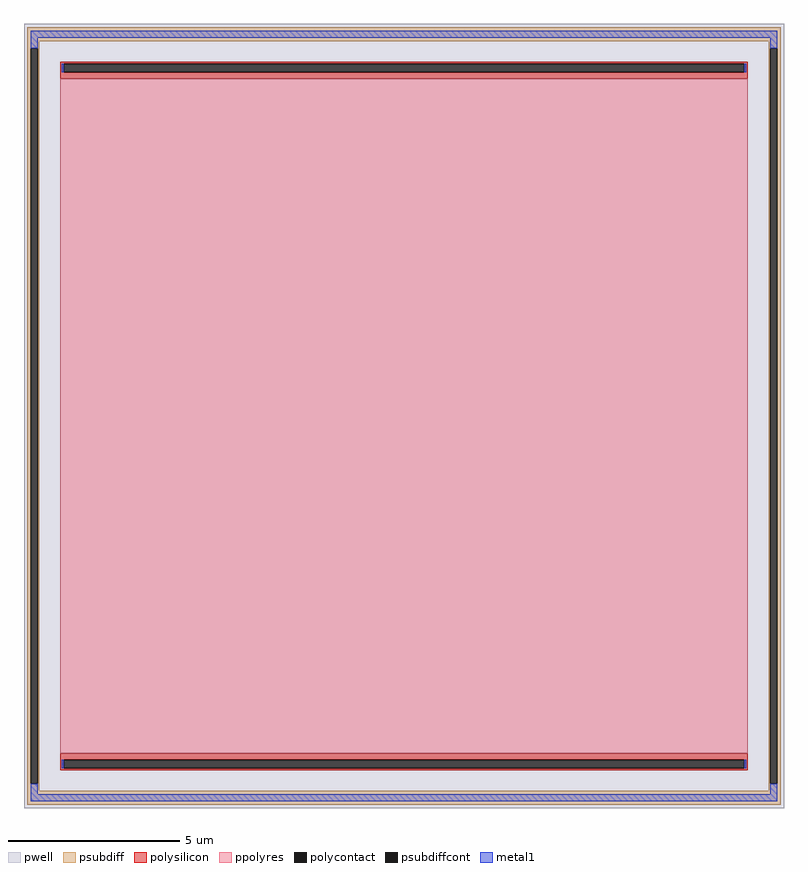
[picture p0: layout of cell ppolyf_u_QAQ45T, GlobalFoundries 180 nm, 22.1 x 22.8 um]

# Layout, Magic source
magic
tech gf180mcuD
<< pwell >>
rect -221 -228 221 228
<< psubdiff >>
rect -219 218 219 226
rect -219 214 -212 218
rect -219 -214 -217 214
rect -213 -214 -212 214
rect 212 214 219 218
rect -219 -218 -212 -214
rect 212 -214 213 214
rect 217 -214 219 214
rect 212 -218 219 -214
rect -219 -226 219 -218
<< psubdiffcont >>
rect -217 -214 -213 214
rect 213 -214 217 214
<< polysilicon >>
rect -200 205 200 206
rect -200 200 -198 205
rect 198 200 200 205
rect -200 196 200 200
rect -200 -200 200 -196
rect -200 -205 -198 -200
rect 198 -205 200 -200
rect -200 -206 200 -205
<< polycontact >>
rect -198 200 198 205
rect -198 -205 198 -200
<< ppolyres >>
rect -200 -196 200 196
<< metal1 >>
rect -217 220 217 224
rect -217 214 -213 220
rect 213 214 217 220
rect -199 200 -198 205
rect 198 200 199 205
rect -199 -205 -198 -200
rect 198 -205 199 -200
rect -217 -220 -213 -214
rect 213 -220 217 -214
rect -217 -224 217 -220
<< properties >>
string FIXED_BBOX -215 -222 215 222
string gencell ppolyf_u
string library gf180mcu
string parameters w 20.0 l 19.657 m 1 nx 1 wmin 0.80 lmin 1.00 class resistor rho 315 val 310.482 dummy 0 dw 0.057 term 0.0 sterm 0.0 caplen 0.4 snake 0 guard 1 guard_type pwell glc 1 grc 1 gtc 0 gbc 0 roverlap 0 endcov 100 full_metal 1
<< end >>
